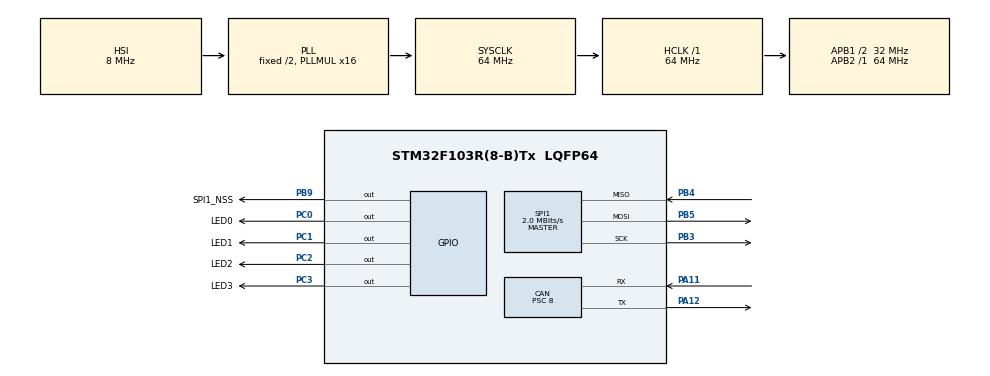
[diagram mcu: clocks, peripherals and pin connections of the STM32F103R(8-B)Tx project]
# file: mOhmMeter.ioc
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Mcu.Family=STM32F1
NVIC.CAN1_RX1_IRQn=true\:5\:0\:false\:false\:true\:true\:true\:true
FREERTOS.Tasks01=eventDispatcher,0,128,startEventDispatcherTask,Default,NULL,Dynamic,NULL,NULL
PB9.GPIO_Label=SPI1_NSS
SPI1.VirtualType=VM_MASTER
CAN.CalculateBaudRate=444444
CAN.RFLM=DISABLE
PC2.Signal=GPIO_Output
PC0.GPIO_Label=LED0
PA11.Mode=CAN_Activate
SPI1.CLKPhase=SPI_PHASE_2EDGE
PA11.GPIO_PuPd=GPIO_PULLUP
PC0.Signal=GPIO_Output
RCC.APB1CLKDivider=RCC_HCLK_DIV2
CAN.CalculateTimeBit=2250.00
RCC.SYSCLKSource=RCC_SYSCLKSOURCE_PLLCLK
ProjectManager.StackSize=0x400
PA13.Signal=SYS_JTMS-SWDIO
PA12.Signal=CAN_TX
CAN.BS2=CAN_BS2_2TQ
CAN.BS1=CAN_BS1_6TQ
CAN.Prescaler=8
SPI1.CLKPolarity=SPI_POLARITY_HIGH
ProjectManager.TargetToolchain=STM32CubeIDE
SPI1.Direction=SPI_DIRECTION_2LINES
RCC.HCLKFreq_Value=64000000
RCC.APB2TimFreq_Value=64000000
SPI1.CalculateBaudRate=2.0 MBits/s
PC3.Signal=GPIO_Output
PB4.GPIO_PuPd=GPIO_PULLUP
RCC.USBFreq_Value=64000000
RCC.AHBFreq_Value=64000000
PB3.Mode=Full_Duplex_Master
board=custom
RCC.PLLMUL=RCC_PLL_MUL16
RCC.APB2Freq_Value=64000000
PB4.Mode=Full_Duplex_Master
SPI1.Mode=SPI_MODE_MASTER
PA14.Mode=Serial_Wire
NVIC.USB_LP_CAN1_RX0_IRQn=true\:5\:0\:false\:false\:true\:true\:true\:true
PB5.Mode=Full_Duplex_Master
CAN.NART=ENABLE
PC1.GPIO_Label=LED1
VP_FREERTOS_VS_CMSIS_V1.Mode=CMSIS_V1
PA13.Mode=Serial_Wire
Mcu.Name=STM32F103R(8-B)Tx
CAN.CalculateTimeQuantum=250.0
PB3.Signal=SPI1_SCK
RCC.SYSCLKFreq_VALUE=64000000
Mcu.Package=LQFP64
PB5.Signal=SPI1_MOSI
PB9.Signal=GPIO_Output
NVIC.TimeBase=TIM4_IRQn
PA12.Mode=CAN_Activate
PA11.Signal=CAN_RX
NVIC.TimeBaseIP=TIM4
PA14.Signal=SYS_JTCK-SWCLK
ProjectManager.HeapSize=0x200
VP_SYS_VS_tim4.Mode=TIM4
NVIC.PriorityGroup=NVIC_PRIORITYGROUP_4
CAN.TXFP=ENABLE
RCC.APB1TimFreq_Value=64000000
PC3.GPIO_Label=LED3
NVIC.TIM4_IRQn=true\:0\:0\:false\:false\:true\:false\:false\:true
RCC.APB1Freq_Value=32000000
SPI1.BaudRatePrescaler=SPI_BAUDRATEPRESCALER_32
PC2.GPIO_Label=LED2
PC1.Signal=GPIO_Output
PB4.Signal=SPI1_MISO

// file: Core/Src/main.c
/* USER CODE BEGIN Header */
/**
 ******************************************************************************
 * @file           : main.c
 * @brief          : Main program body
 ******************************************************************************
 * @attention
 *
 * <h2><center>&copy; Copyright (c) 2021 STMicroelectronics.
 * All rights reserved.</center></h2>
 *
 * This software component is licensed by ST under BSD 3-Clause license,
 * the "License"; You may not use this file except in compliance with the
 * License. You may obtain a copy of the License at:
 *                        opensource.org/licenses/BSD-3-Clause
 *
 ******************************************************************************
 */
/* USER CODE END Header */
#include "main.h"
#include "cmsis_os.h"
#include "can.h"
#include "spi.h"
#include "gpio.h"

/* USER CODE BEGIN Includes */
#include "ad7190/AD7190.h"
/* USER CODE END Includes */

/* USER CODE BEGIN PV */
uint8_t id;
uint16_t counter1=0,counter2=0;
float channel1[1000],channel2[1000];
extern CAN_TxHeaderTypeDef   TxHeader;
extern CAN_RxHeaderTypeDef   RxHeader;
extern uint8_t               TxData[8];
extern uint8_t               RxData[8];
extern uint32_t              TxMailbox;
extern CAN_HandleTypeDef hcan;
/* USER CODE END PV */

void SystemClock_Config(void);
void MX_FREERTOS_Init(void);
/* USER CODE BEGIN PFP */
void initInterruptOnMiso(void);
void enableInterruptOnMiso(uint16_t GPIO_Pin);
void disableInterruptOnMiso(void);

/* USER CODE END PFP */

int main(void)
{

	/* MCU Configuration--------------------------------------------------------*/

	/* Reset of all peripherals, Initializes the Flash interface and the Systick. */
	HAL_Init();

	/* Configure the system clock */
	SystemClock_Config();

	/* Initialize all configured peripherals */
	MX_GPIO_Init();
	MX_SPI1_Init();
	MX_CAN_Init();
	/* USER CODE BEGIN 2 */
	configCANFilter();
	//Initialize Interrupt On SPI MISO Pin because SPI and Interrupt block are independent
	initInterruptOnMiso();

	//Resets AD7190 all registers to default value
	AD7190_Reset();
	//wait at least 500uS after reset due to datasheet
	HAL_Delay(1);
	//check if AD7190 is working correctly then initialize its registers
	if(!AD7190_Init()){
		//send some message to user in Console
		//error led blinking here
		HAL_Delay(1000);
		while(1);
	}

	//enable interrupt on MISO pin and reset interrupt flag
	enableInterruptOnMiso(GPIO_PIN_4);
	//pull cs low so MISO start toggling on data-ready
	ADI_PART_CS_LOW;
	/* USER CODE END 2 */

	/* Call init function for freertos objects (in freertos.c) */
	MX_FREERTOS_Init();
	/* Start scheduler */
	osKernelStart();

	/* We should never get here as control is now taken by the scheduler */
	/* Infinite loop */
	/* USER CODE BEGIN WHILE */
	while (1)
	{
		if (HAL_CAN_AddTxMessage(&hcan, &TxHeader, TxData, &TxMailbox) != HAL_OK)
		{
			/* Transmission request Error */
			Error_Handler();
		}
		//
		HAL_Delay(100);
		/* USER CODE END WHILE */

	}
}

void SystemClock_Config(void)
{
	RCC_OscInitTypeDef RCC_OscInitStruct = {0};
	RCC_ClkInitTypeDef RCC_ClkInitStruct = {0};

	/** Initializes the RCC Oscillators according to the specified parameters
	 * in the RCC_OscInitTypeDef structure.
	 */
	RCC_OscInitStruct.OscillatorType = RCC_OSCILLATORTYPE_HSI;
	RCC_OscInitStruct.HSIState = RCC_HSI_ON;
	RCC_OscInitStruct.HSICalibrationValue = RCC_HSICALIBRATION_DEFAULT;
	RCC_OscInitStruct.PLL.PLLState = RCC_PLL_ON;
	RCC_OscInitStruct.PLL.PLLSource = RCC_PLLSOURCE_HSI_DIV2;
	RCC_OscInitStruct.PLL.PLLMUL = RCC_PLL_MUL16;
	if (HAL_RCC_OscConfig(&RCC_OscInitStruct) != HAL_OK)
	{
		Error_Handler();
	}
	/** Initializes the CPU, AHB and APB buses clocks
	 */
	RCC_ClkInitStruct.ClockType = RCC_CLOCKTYPE_HCLK|RCC_CLOCKTYPE_SYSCLK
			|RCC_CLOCKTYPE_PCLK1|RCC_CLOCKTYPE_PCLK2;
	RCC_ClkInitStruct.SYSCLKSource = RCC_SYSCLKSOURCE_PLLCLK;
	RCC_ClkInitStruct.AHBCLKDivider = RCC_SYSCLK_DIV1;
	RCC_ClkInitStruct.APB1CLKDivider = RCC_HCLK_DIV2;
	RCC_ClkInitStruct.APB2CLKDivider = RCC_HCLK_DIV1;

	if (HAL_RCC_ClockConfig(&RCC_ClkInitStruct, FLASH_LATENCY_2) != HAL_OK)
	{
		Error_Handler();
	}
}

/* USER CODE BEGIN 4 */
void initInterruptOnMiso(void){

	/*Configure GPIO pin : PB5 */
	GPIO_InitTypeDef GPIO_InitStruct = {0};
	__HAL_RCC_GPIOB_CLK_ENABLE();
	GPIO_InitStruct.Pin = GPIO_PIN_4;
	GPIO_InitStruct.Mode = GPIO_MODE_IT_FALLING;
	GPIO_InitStruct.Pull = GPIO_PULLUP;
	HAL_GPIO_Init(GPIOB, &GPIO_InitStruct);

	HAL_NVIC_SetPriority(EXTI4_IRQn, 0, 0);
	HAL_NVIC_DisableIRQ(EXTI4_IRQn);

}

void enableInterruptOnMiso(uint16_t GPIO_Pin){
	__HAL_GPIO_EXTI_CLEAR_IT(GPIO_Pin);
	HAL_NVIC_EnableIRQ(EXTI4_IRQn);
}

void disableInterruptOnMiso(void){
	HAL_NVIC_DisableIRQ(EXTI4_IRQn);
}
uint32_t temp;
uint8_t status;

/*
 * Catch data on the falling edge of MISO pin
 * Here since there is no other process all data can be easily read in GPIO ISR.
 * However, care must be taken if some other processes add to system
 */

void HAL_GPIO_EXTI_Callback(uint16_t GPIO_Pin){
	disableInterruptOnMiso();
	switch (GPIO_Pin){

	case GPIO_PIN_4:

		temp=AD7190_GetRegisterValue(AD7190_REG_DATA, 4, 0);

		status=temp&0xff;
		if((status&0x7)==0){
			channel1[counter1++]=((temp>>8)*4.096/0x800000-4.096);
			if(counter1==300)
				counter1=0;
		}
		if((status&0x7)==1){
			channel2[counter2++]=((temp>>8)*4.096/0x800000-4.096);
			if(counter2==300)
				counter2=0;
		}

		enableInterruptOnMiso(GPIO_Pin);
		ADI_PART_CS_LOW;

		break;
	}
}
/* USER CODE END 4 */

void HAL_TIM_PeriodElapsedCallback(TIM_HandleTypeDef *htim)
{
	if (htim->Instance == TIM4) {
		HAL_IncTick();
	}
}

void Error_Handler(void)
{
	__disable_irq();
	while (1)
	{
	}
}

/************************ (C) COPYRIGHT STMicroelectronics *****END OF FILE****/

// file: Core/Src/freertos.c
/* USER CODE BEGIN Header */
/**
 ******************************************************************************
 * File Name          : freertos.c
 * Description        : Code for freertos applications
 ******************************************************************************
 * @attention
 *
 * <h2><center>&copy; Copyright (c) 2021 STMicroelectronics.
 * All rights reserved.</center></h2>
 *
 * This software component is licensed by ST under Ultimate Liberty license
 * SLA0044, the "License"; You may not use this file except in compliance with
 * the License. You may obtain a copy of the License at:
 *                             www.st.com/SLA0044
 *
 ******************************************************************************
 */
/* USER CODE END Header */

#include "FreeRTOS.h"
#include "task.h"
#include "main.h"
#include "cmsis_os.h"

/* USER CODE BEGIN Includes */
#include "..\inc\MOhmMeterEvent.h"
#include "..\inc\MOhmMeterState.h"
/* USER CODE END Includes */

/* USER CODE BEGIN Variables */
MOhmMeter_t me;
osMailQId qid_EventQueue; // mail queue id
osMailQDef(EventQueue, MAILQUEUE_EVENTS, EVENT_TYPE);

/* USER CODE END Variables */
osThreadId eventDispatcherHandle;

void startEventDispatcherTask(void const * argument);

void MX_FREERTOS_Init(void); /* (MISRA C 2004 rule 8.1) */

/* GetIdleTaskMemory prototype (linked to static allocation support) */
void vApplicationGetIdleTaskMemory( StaticTask_t **ppxIdleTaskTCBBuffer, StackType_t **ppxIdleTaskStackBuffer, uint32_t *pulIdleTaskStackSize );

/* USER CODE BEGIN GET_IDLE_TASK_MEMORY */
static StaticTask_t xIdleTaskTCBBuffer;
static StackType_t xIdleStack[configMINIMAL_STACK_SIZE];

void vApplicationGetIdleTaskMemory( StaticTask_t **ppxIdleTaskTCBBuffer, StackType_t **ppxIdleTaskStackBuffer, uint32_t *pulIdleTaskStackSize )
{
  *ppxIdleTaskTCBBuffer = &xIdleTaskTCBBuffer;
  *ppxIdleTaskStackBuffer = &xIdleStack[0];
  *pulIdleTaskStackSize = configMINIMAL_STACK_SIZE;
  /* place for user code */
}
/* USER CODE END GET_IDLE_TASK_MEMORY */

void MX_FREERTOS_Init(void) {

  /* USER CODE BEGIN RTOS_QUEUES */
	/* add queues, ... */
  	  qid_EventQueue = osMailCreate(osMailQ(EventQueue), NULL); // create mail queue
  	if (!qid_EventQueue)
  	{
  		while (1)
  		{

  		} // Mail Queue object not created, handle failure
  	}

  /* USER CODE END RTOS_QUEUES */

  /* Create the thread(s) */
  /* definition and creation of eventDispatcher */
  osThreadDef(eventDispatcher, startEventDispatcherTask, osPriorityNormal, 0, 128);
  eventDispatcherHandle = osThreadCreate(osThread(eventDispatcher), NULL);

}

/* USER CODE BEGIN Header_startEventDispatcherTask */
/**
 * @brief  Function implementing the eventDispatcher thread.
 * @param  argument: Not used
 * @retval None
 */
osStatus status;
/* USER CODE END Header_startEventDispatcherTask */
void startEventDispatcherTask(void const * argument)
{
  /* USER CODE BEGIN startEventDispatcherTask */
	/* Infinite loop */
	Event_t *rptr,*mptr = 0;

	osEvent evt;
	mOhmMeter_costructor(&me);
	mptr = osMailAlloc(qid_EventQueue,osWaitForever);                     // Allocate memory for the message
	mptr->sig =1;
	status=osMailPut(qid_EventQueue, mptr);
	mptr = osMailAlloc(qid_EventQueue,osWaitForever);                     // Allocate memory for the message
	mptr->sig =2;
	status=osMailPut(qid_EventQueue, mptr);

	Base_init((StateContext_t *)&me, (Event_t const *)0);

	while (1)
	{

		evt = osMailGet(qid_EventQueue, osWaitForever); // wait for mail
		if (evt.status == osEventMail)
		{
			rptr = evt.value.p;
			if (rptr)
			{
				Base_dispatch((StateContext_t *)&me, (Event_t const *)rptr); // process data
				osMailFree(qid_EventQueue, rptr);
			}
		}
	}
  /* USER CODE END startEventDispatcherTask */
}

/************************ (C) COPYRIGHT STMicroelectronics *****END OF FILE****/
